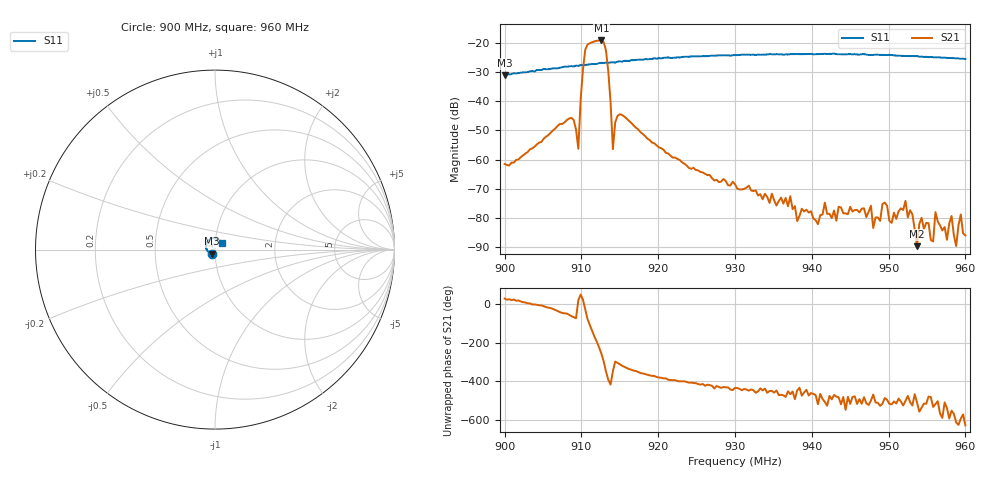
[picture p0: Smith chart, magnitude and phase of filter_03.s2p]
!File created by NanoVNA-F V2
# Hz S RI R 50
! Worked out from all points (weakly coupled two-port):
!   201 points, 900 MHz to 960 MHz, reference 50 ohm
!   highest |S21| = -19.21 dB at 912.6 MHz (marker M1); lowest = -89.7 dB at 953.7 MHz (marker M2)
!   lowest |S11| = -31.1 dB at 900 MHz (marker M3), VSWR 1.06, Z = 48.4 - j2.24 ohm
!   |S11| at or under -10 dB: start of sweep to end of sweep
!   S12 and S22 are empty: the file has one direction only
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9e8  -0.0155 -0.0231  0.000746 0.00038  0 0  0 0
9.087e8  -0.0379 -0.012  0.00229 -0.00463  0 0  0 0
9.096e8  -0.0387 -0.0109  0.00145 0.000477  0 0  0 0
9.102e8  -0.0399 -0.00942  0.0321 0.0126  0 0  0 0
9.108e8  -0.0416 -0.00736  0.0177 -0.0911  0 0  0 0
9.126e8  -0.0452 -0.00204  -0.0258 0.1064  0 0  0 0
9.135e8  -0.0454 0.000216  0.0274 -0.017  0 0  0 0
9.141e8  -0.0464 0.00175  0.00146 0.000337  0 0  0 0
9.144e8  -0.0457 0.00217  0.00199 0.00383  0 0  0 0
9.15e8  -0.0479 0.00346  0.0039 0.0045  0 0  0 0
9.201e8  -0.0508 0.02  0.00152 -0.000541  0 0  0 0
9.3e8  -0.0397 0.0471  0.00011 -0.000361  0 0  0 0
9.402e8  -0.0122 0.0624  -2.4e-05 -9.5e-05  0 0  0 0
9.417e8  -0.0101 0.0639  -0.00015 -0.000104  0 0  0 0
9.426e8  -0.00878 0.0641  -6.6e-05 -7.4e-05  0 0  0 0
9.489e8  0.0109 0.0609  -8.6e-05 -2.2e-05  0 0  0 0
9.495e8  0.0131 0.0603  -0.000106 -0.000149  0 0  0 0
9.501e8  0.0147 0.0604  -8.1e-05 -3.7e-05  0 0  0 0
9.522e8  0.0207 0.0553  -0.00015 -0.000126  0 0  0 0
9.525e8  0.0208 0.0555  -4.2e-05 -9.3e-05  0 0  0 0
9.537e8  0.0235 0.0542  -2.8e-05 -1.7e-05  0 0  0 0
9.6e8  0.0365 0.0382  -3e-06 5e-05  0 0  0 0
